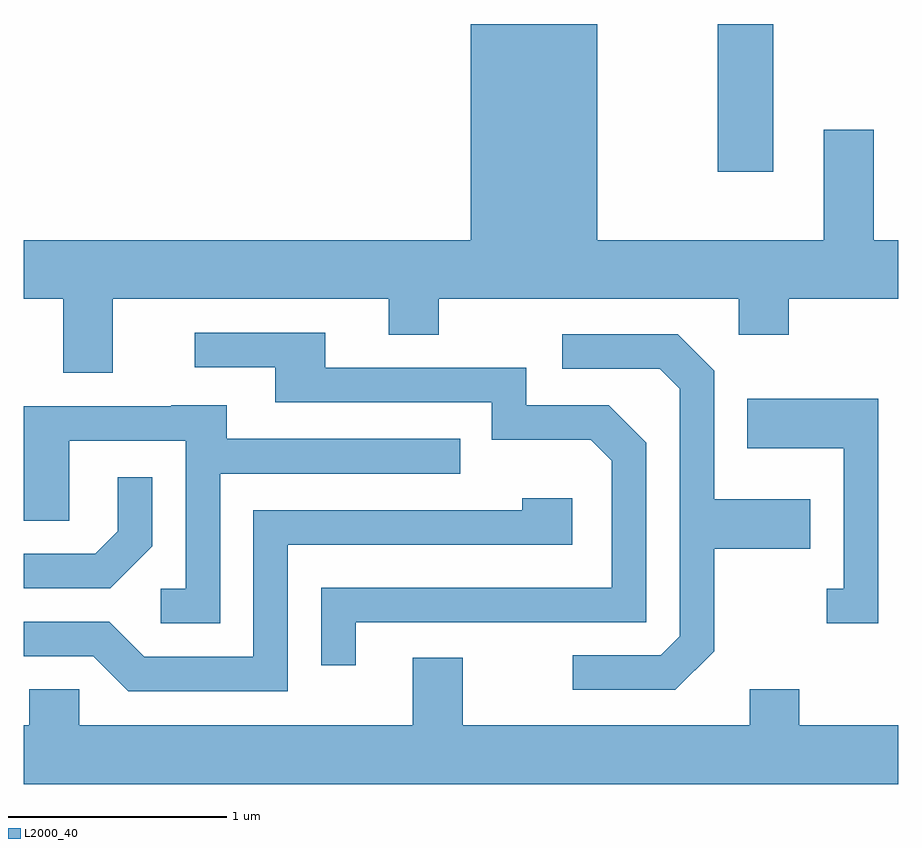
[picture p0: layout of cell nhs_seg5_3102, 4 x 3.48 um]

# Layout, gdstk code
import gdstk
lib = gdstk.Library(unit=1e-6, precision=1e-09)
def R(c, l, rs):  # rectangles x0, y0, x1, y1
    for r in rs: c.add(gdstk.rectangle(r[:2], r[2:], *l))
def P(c, l, *ps):  # polygons
    for p in ps: c.add(gdstk.Polygon(p, *l))
L2000_40 = (2000, 40)

nhs_seg5_3102 = lib.new_cell('nhs_seg5_3102')
R(nhs_seg5_3102, L2000_40, [(280.786,1437.396,281.039,1438.072)])
P(nhs_seg5_3102, L2000_40, [(278.019,1436.816),(279.281,1436.816),(279.281,1436.651),(279.509,1436.651),(279.509,1436.816),(280.881,1436.816),(280.881,1436.651),(281.109,1436.651),(281.109,1436.816),(281.611,1436.816),(281.611,1437.084),(281.499,1437.084),(281.499,1437.589),(281.271,1437.589),(281.271,1437.084),(280.234,1437.084),(280.234,1438.072),(279.656,1438.072),(279.656,1437.084),(277.611,1437.084),(277.611,1436.816),(277.791,1436.816),(277.791,1436.476),(278.019,1436.476)],
  [(279.129,1435.336),(280.459,1435.336),(280.459,1436.157),(280.287,1436.329),(279.909,1436.329),(279.909,1436.499),(278.989,1436.499),(278.989,1436.659),(278.393,1436.659),(278.393,1436.501),(278.761,1436.501),(278.761,1436.341),(279.751,1436.341),(279.751,1436.171),(280.204,1436.171),(280.301,1436.074),(280.301,1435.494),(278.971,1435.494),(278.971,1435.138),(279.129,1435.138)],
  [(280.769,1435.204),(280.769,1435.671),(281.209,1435.671),(281.209,1435.899),(280.769,1435.899),(280.769,1436.487),(280.602,1436.654),(280.073,1436.654),(280.073,1436.496),(280.519,1436.496),(280.611,1436.404),(280.611,1435.272),(280.524,1435.184),(280.123,1435.184),(280.123,1435.026),(280.592,1435.026)],
  [(281.519,1436.359),(280.921,1436.359),(280.921,1436.131),(281.361,1436.131),(281.361,1435.489),(281.283,1435.489),(281.283,1435.331),(281.519,1435.331)],
  [(278.509,1436.016),(279.608,1436.016),(279.608,1436.174),(278.539,1436.174),(278.539,1436.329),(278.285,1436.329),(278.285,1436.324),(277.611,1436.324),(277.611,1435.801),(277.819,1435.801),(277.819,1436.166),(278.351,1436.166),(278.351,1435.489),(278.238,1435.489),(278.238,1435.331),(278.509,1435.331)],
  [(278.199,1435.684),(278.199,1435.998),(278.041,1435.998),(278.041,1435.752),(277.939,1435.649),(277.611,1435.649),(277.611,1435.491),(278.007,1435.491)],
  [(278.819,1435.691),(280.119,1435.691),(280.119,1435.904),(279.891,1435.904),(279.891,1435.849),(278.661,1435.849),(278.661,1435.179),(278.162,1435.179),(278.002,1435.339),(277.611,1435.339),(277.611,1435.181),(277.929,1435.181),(278.089,1435.021),(278.819,1435.021)],
  [(281.611,1434.864),(281.159,1434.864),(281.159,1435.029),(280.931,1435.029),(280.931,1434.864),(279.619,1434.864),(279.619,1435.174),(279.391,1435.174),(279.391,1434.864),(277.864,1434.864),(277.864,1435.029),(277.636,1435.029),(277.636,1434.864),(277.611,1434.864),(277.611,1434.596),(281.611,1434.596)])

lib.write_gds('nhs_seg5_3102.gds')
